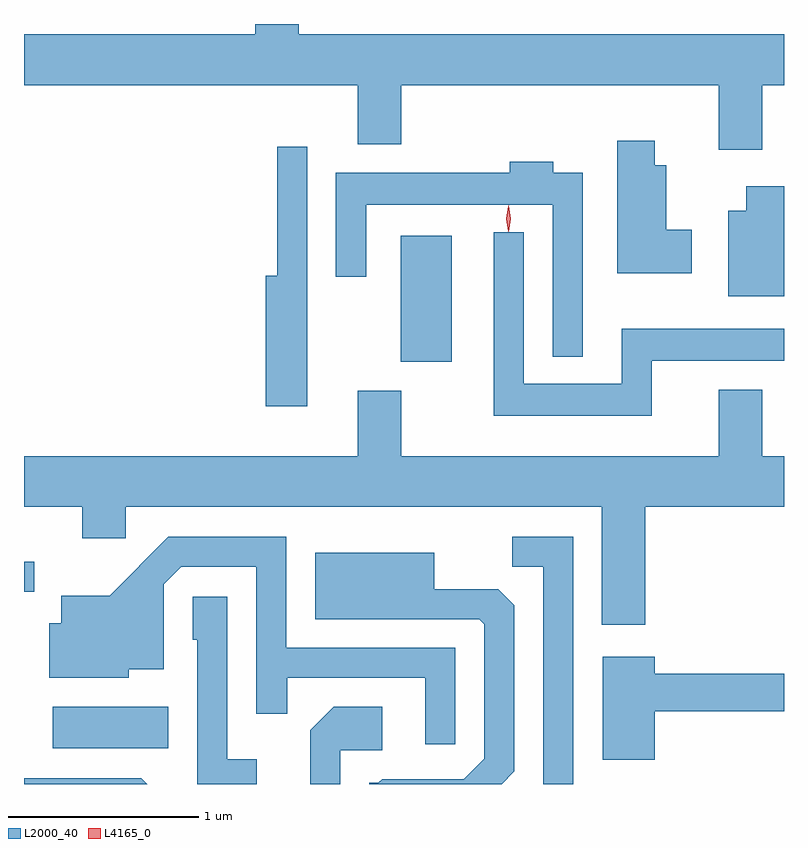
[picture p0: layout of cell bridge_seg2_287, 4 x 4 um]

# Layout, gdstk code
import gdstk
lib = gdstk.Library(unit=1e-6, precision=1e-09)
def R(c, l, rs):  # rectangles x0, y0, x1, y1
    for r in rs: c.add(gdstk.rectangle(r[:2], r[2:], *l))
def P(c, l, *ps):  # polygons
    for p in ps: c.add(gdstk.Polygon(p, *l))
L2000_40 = (2000, 40)
L4165_0 = (4165, 0)

bridge_seg2_287 = lib.new_cell('bridge_seg2_287')
R(bridge_seg2_287, L2000_40, [(543.106,1091.446,543.714,1091.664), (542.954,1092.271,543.008,1092.429), (544.936,1093.481,545.204,1094.144)])
P(bridge_seg2_287, L2000_40, [(546.839,1094.936),(546.954,1094.936),(546.954,1095.204),(544.399,1095.204),(544.399,1095.258),(544.171,1095.258),(544.171,1095.204),(542.954,1095.204),(542.954,1094.936),(544.711,1094.936),(544.711,1094.626),(544.939,1094.626),(544.939,1094.936),(546.611,1094.936),(546.611,1094.596),(546.839,1094.596)],
  [(546.469,1094.174),(546.334,1094.174),(546.334,1094.514),(546.274,1094.514),(546.274,1094.644),(546.076,1094.644),(546.076,1093.946),(546.469,1093.946)],
  [(544.444,1094.613),(544.286,1094.613),(544.286,1093.934),(544.226,1093.934),(544.226,1093.246),(544.444,1093.246)],
  [(545.894,1094.474),(545.739,1094.474),(545.739,1094.534),(545.511,1094.534),(545.511,1094.474),(544.596,1094.474),(544.596,1093.928),(544.754,1093.928),(544.754,1094.306),(545.736,1094.306),(545.736,1093.508),(545.894,1093.508)],
  [(546.954,1094.404),(546.756,1094.404),(546.756,1094.274),(546.661,1094.274),(546.661,1093.826),(546.954,1093.826)],
  [(546.259,1093.486),(546.954,1093.486),(546.954,1093.654),(546.101,1093.654),(546.101,1093.364),(545.584,1093.364),(545.584,1094.163),(545.426,1094.163),(545.426,1093.196),(546.259,1093.196)],
  [(546.224,1092.716),(546.954,1092.716),(546.954,1092.984),(546.839,1092.984),(546.839,1093.334),(546.611,1093.334),(546.611,1092.984),(544.939,1092.984),(544.939,1093.329),(544.711,1093.329),(544.711,1092.984),(542.954,1092.984),(542.954,1092.716),(543.261,1092.716),(543.261,1092.551),(543.489,1092.551),(543.489,1092.716),(545.996,1092.716),(545.996,1092.096),(546.224,1092.096)],
  [(545.844,1092.559),(545.523,1092.559),(545.523,1092.401),(545.686,1092.401),(545.686,1091.258),(545.844,1091.258)],
  [(545.224,1091.974),(544.334,1091.974),(544.334,1092.559),(543.714,1092.559),(543.404,1092.249),(543.151,1092.249),(543.151,1092.104),(543.086,1092.104),(543.086,1091.816),(543.504,1091.816),(543.504,1091.861),(543.689,1091.861),(543.689,1092.309),(543.782,1092.401),(544.176,1092.401),(544.176,1091.628),(544.339,1091.628),(544.339,1091.816),(545.066,1091.816),(545.066,1091.468),(545.224,1091.468)],
  [(545.534,1091.324),(545.534,1092.199),(545.449,1092.284),(545.114,1092.284),(545.114,1092.474),(544.486,1092.474),(544.486,1092.126),(545.349,1092.126),(545.376,1092.099),(545.376,1091.392),(545.269,1091.284),(544.839,1091.284),(544.819,1091.264),(544.771,1091.264),(544.771,1091.258),(545.468,1091.258)],
  [(544.178,1091.389),(544.024,1091.389),(544.024,1092.244),(543.841,1092.244),(543.841,1092.016),(543.866,1092.016),(543.866,1091.258),(544.178,1091.258)],
  [(546.274,1091.641),(546.954,1091.641),(546.954,1091.839),(546.274,1091.839),(546.274,1091.929),(546.001,1091.929),(546.001,1091.386),(546.274,1091.386)],
  [(544.619,1091.436),(544.839,1091.436),(544.839,1091.664),(544.584,1091.664),(544.461,1091.542),(544.461,1091.258),(544.619,1091.258)],
  [(543.572,1091.289),(542.954,1091.289),(542.954,1091.258),(543.603,1091.258)])
P(bridge_seg2_287, L4165_0, [(545.504,1094.164),(545.495,1094.234),(545.504,1094.302),(545.505,1094.303),(545.505,1094.302),(545.515,1094.234),(545.505,1094.164),(545.505,1094.164)],
  [(545.502,1094.167),(545.502,1094.168),(545.492,1094.234),(545.502,1094.3),(545.502,1094.3),(545.503,1094.3),(545.512,1094.234),(545.503,1094.168)])

lib.write_gds('bridge_seg2_287.gds')
